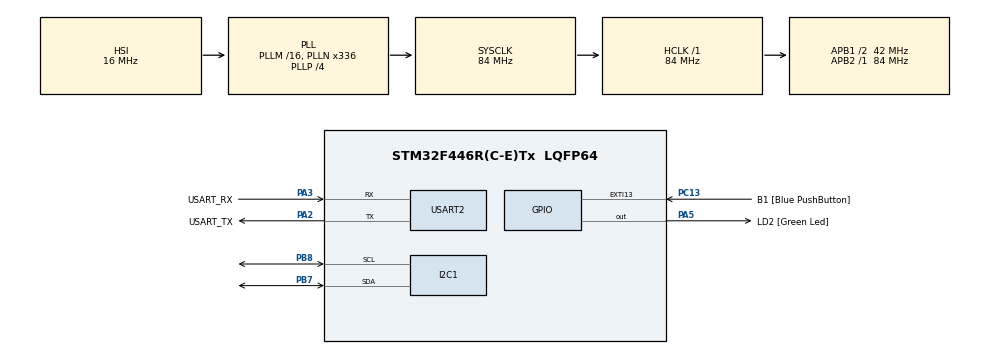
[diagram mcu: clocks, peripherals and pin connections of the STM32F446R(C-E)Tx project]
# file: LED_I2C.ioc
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Mcu.Family=STM32F4
Mcu.Name=STM32F446R(C-E)Tx
Mcu.Package=LQFP64
NVIC.PriorityGroup=NVIC_PRIORITYGROUP_0
PA13.GPIO_Label=TMS
PA13.Mode=Serial_Wire
PA13.Signal=SYS_JTMS-SWDIO
PA14.GPIO_Label=TCK
PA14.Mode=Serial_Wire
PA14.Signal=SYS_JTCK-SWCLK
PA2.GPIO_Label=USART_TX
PA2.Mode=Asynchronous
PA2.Signal=USART2_TX
PA3.GPIO_Label=USART_RX
PA3.Mode=Asynchronous
PA3.Signal=USART2_RX
PA5.GPIO_Label=LD2 [Green Led]
PA5.Signal=GPIO_Output
PB3.GPIO_Label=SWO
PB3.Signal=SYS_JTDO-SWO
PB7.Mode=I2C
PB7.Signal=I2C1_SDA
PB8.Mode=I2C
PB8.Signal=I2C1_SCL
PC13.GPIO_Label=B1 [Blue PushButton]
PC13.GPIO_ModeDefaultEXTI=GPIO_MODE_IT_FALLING
PC13.Signal=GPXTI13
PC14-OSC32_IN.Mode=LSE-External-Oscillator
PC14-OSC32_IN.Signal=RCC_OSC32_IN
PC15-OSC32_OUT.Mode=LSE-External-Oscillator
PC15-OSC32_OUT.Signal=RCC_OSC32_OUT
PH0-OSC_IN.Mode=HSE-External-Oscillator
PH0-OSC_IN.Signal=RCC_OSC_IN
PH1-OSC_OUT.Mode=HSE-External-Oscillator
PH1-OSC_OUT.Signal=RCC_OSC_OUT
ProjectManager.HeapSize=0x200
ProjectManager.StackSize=0x400
ProjectManager.TargetToolchain=STM32CubeIDE
RCC.48MHZClocksFreq_Value=84000000
RCC.AHBFreq_Value=84000000
RCC.APB1CLKDivider=RCC_HCLK_DIV2
RCC.APB1Freq_Value=42000000
RCC.APB1TimFreq_Value=84000000
RCC.APB2Freq_Value=84000000
RCC.APB2TimFreq_Value=84000000
RCC.CortexFreq_Value=84000000
RCC.FLatency-AdvancedSettings=FLASH_LATENCY_2
RCC.HCLKFreq_Value=84000000
RCC.HSE_VALUE=8000000
RCC.HSI_VALUE=16000000
RCC.PLLN=336
RCC.PLLP=RCC_PLLP_DIV4
RCC.SYSCLKFreq_VALUE=84000000
RCC.SYSCLKSource=RCC_SYSCLKSOURCE_PLLCLK
RCC.USBFreq_Value=168000000
RCC.VCOOutputFreq_Value=336000000
USART2.VirtualMode=VM_ASYNC
board=NUCLEO-F446RE

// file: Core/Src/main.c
/* USER CODE BEGIN Header */
/**
  ******************************************************************************
  * @file           : main.c
  * @brief          : Main program body
  ******************************************************************************
  * @attention
  *
  * Copyright (c) 2022 STMicroelectronics.
  * All rights reserved.
  *
  * This software is licensed under terms that can be found in the LICENSE file
  * in the root directory of this software component.
  * If no LICENSE file comes with this software, it is provided AS-IS.
  *
  ******************************************************************************
  */
/* USER CODE END Header */
#include "main.h"

I2C_HandleTypeDef hi2c1;

UART_HandleTypeDef huart2;

void SystemClock_Config(void);
static void MX_GPIO_Init(void);
static void MX_USART2_UART_Init(void);
static void MX_I2C1_Init(void);

/* USER CODE BEGIN 0 */
int row=0;
int col=0;
/* USER CODE END 0 */

int main(void)
{

  /* MCU Configuration--------------------------------------------------------*/

  /* Reset of all peripherals, Initializes the Flash interface and the Systick. */
  HAL_Init();

  /* Configure the system clock */
  SystemClock_Config();

  /* Initialize all configured peripherals */
  MX_GPIO_Init();
  MX_USART2_UART_Init();
  MX_I2C1_Init();
  /* USER CODE BEGIN 2 */
  lcd_init ();

  lcd_send_string ("Welcome to our");

  HAL_Delay(1000);

  lcd_put_cur(1, 0);

  lcd_send_string("uP Trainer Board");

  HAL_Delay(2000);

  lcd_clear ();
  /* USER CODE END 2 */

  /* Infinite loop */
  while (1)
  {

    /* USER CODE BEGIN 3 */
	  lcd_put_cur(0, 0);
	  lcd_send_string ("Welcome to our");

	  HAL_Delay(100);

	  lcd_put_cur(1, 0);

	  lcd_send_string("uP Trainer Board");

	  HAL_Delay(10);
  }
  /* USER CODE END 3 */
}

void SystemClock_Config(void)
{
  RCC_OscInitTypeDef RCC_OscInitStruct = {0};
  RCC_ClkInitTypeDef RCC_ClkInitStruct = {0};

  /** Configure the main internal regulator output voltage
  */
  __HAL_RCC_PWR_CLK_ENABLE();
  __HAL_PWR_VOLTAGESCALING_CONFIG(PWR_REGULATOR_VOLTAGE_SCALE3);

  /** Initializes the RCC Oscillators according to the specified parameters
  * in the RCC_OscInitTypeDef structure.
  */
  RCC_OscInitStruct.OscillatorType = RCC_OSCILLATORTYPE_HSI;
  RCC_OscInitStruct.HSIState = RCC_HSI_ON;
  RCC_OscInitStruct.HSICalibrationValue = RCC_HSICALIBRATION_DEFAULT;
  RCC_OscInitStruct.PLL.PLLState = RCC_PLL_ON;
  RCC_OscInitStruct.PLL.PLLSource = RCC_PLLSOURCE_HSI;
  RCC_OscInitStruct.PLL.PLLM = 16;
  RCC_OscInitStruct.PLL.PLLN = 336;
  RCC_OscInitStruct.PLL.PLLP = RCC_PLLP_DIV4;
  RCC_OscInitStruct.PLL.PLLQ = 2;
  RCC_OscInitStruct.PLL.PLLR = 2;
  if (HAL_RCC_OscConfig(&RCC_OscInitStruct) != HAL_OK)
  {
    Error_Handler();
  }

  /** Initializes the CPU, AHB and APB buses clocks
  */
  RCC_ClkInitStruct.ClockType = RCC_CLOCKTYPE_HCLK|RCC_CLOCKTYPE_SYSCLK
                              |RCC_CLOCKTYPE_PCLK1|RCC_CLOCKTYPE_PCLK2;
  RCC_ClkInitStruct.SYSCLKSource = RCC_SYSCLKSOURCE_PLLCLK;
  RCC_ClkInitStruct.AHBCLKDivider = RCC_SYSCLK_DIV1;
  RCC_ClkInitStruct.APB1CLKDivider = RCC_HCLK_DIV2;
  RCC_ClkInitStruct.APB2CLKDivider = RCC_HCLK_DIV1;

  if (HAL_RCC_ClockConfig(&RCC_ClkInitStruct, FLASH_LATENCY_2) != HAL_OK)
  {
    Error_Handler();
  }
}

static void MX_I2C1_Init(void)
{

  hi2c1.Instance = I2C1;
  hi2c1.Init.ClockSpeed = 100000;
  hi2c1.Init.DutyCycle = I2C_DUTYCYCLE_2;
  hi2c1.Init.OwnAddress1 = 0;
  hi2c1.Init.AddressingMode = I2C_ADDRESSINGMODE_7BIT;
  hi2c1.Init.DualAddressMode = I2C_DUALADDRESS_DISABLE;
  hi2c1.Init.OwnAddress2 = 0;
  hi2c1.Init.GeneralCallMode = I2C_GENERALCALL_DISABLE;
  hi2c1.Init.NoStretchMode = I2C_NOSTRETCH_DISABLE;
  if (HAL_I2C_Init(&hi2c1) != HAL_OK)
  {
    Error_Handler();
  }

}

static void MX_USART2_UART_Init(void)
{

  huart2.Instance = USART2;
  huart2.Init.BaudRate = 115200;
  huart2.Init.WordLength = UART_WORDLENGTH_8B;
  huart2.Init.StopBits = UART_STOPBITS_1;
  huart2.Init.Parity = UART_PARITY_NONE;
  huart2.Init.Mode = UART_MODE_TX_RX;
  huart2.Init.HwFlowCtl = UART_HWCONTROL_NONE;
  huart2.Init.OverSampling = UART_OVERSAMPLING_16;
  if (HAL_UART_Init(&huart2) != HAL_OK)
  {
    Error_Handler();
  }

}

static void MX_GPIO_Init(void)
{
  GPIO_InitTypeDef GPIO_InitStruct = {0};

  /* GPIO Ports Clock Enable */
  __HAL_RCC_GPIOC_CLK_ENABLE();
  __HAL_RCC_GPIOH_CLK_ENABLE();
  __HAL_RCC_GPIOA_CLK_ENABLE();
  __HAL_RCC_GPIOB_CLK_ENABLE();

  /*Configure GPIO pin Output Level */
  HAL_GPIO_WritePin(LD2_GPIO_Port, LD2_Pin, GPIO_PIN_RESET);

  /*Configure GPIO pin : B1_Pin */
  GPIO_InitStruct.Pin = B1_Pin;
  GPIO_InitStruct.Mode = GPIO_MODE_IT_FALLING;
  GPIO_InitStruct.Pull = GPIO_NOPULL;
  HAL_GPIO_Init(B1_GPIO_Port, &GPIO_InitStruct);

  /*Configure GPIO pin : LD2_Pin */
  GPIO_InitStruct.Pin = LD2_Pin;
  GPIO_InitStruct.Mode = GPIO_MODE_OUTPUT_PP;
  GPIO_InitStruct.Pull = GPIO_NOPULL;
  GPIO_InitStruct.Speed = GPIO_SPEED_FREQ_LOW;
  HAL_GPIO_Init(LD2_GPIO_Port, &GPIO_InitStruct);

}

void Error_Handler(void)
{
  __disable_irq();
  while (1)
  {
  }
}
